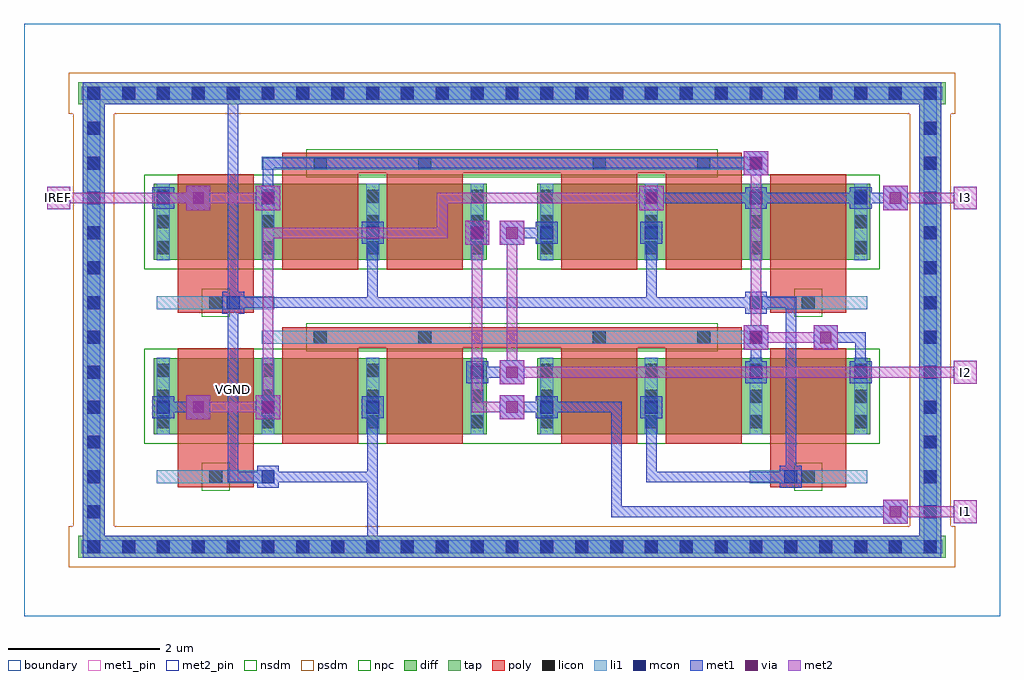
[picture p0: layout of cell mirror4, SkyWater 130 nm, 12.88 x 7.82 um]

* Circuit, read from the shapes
.subckt mirror4 I1 I2 I3 IREF VGND
XM1 I3 VGND I3 VGND sky130_fd_pr__nfet_01v8 w=1 l=1 m=2
XM2 IREF VGND IREF VGND sky130_fd_pr__nfet_01v8 w=1 l=1 m=2
XM3 VGND IREF I3 VGND sky130_fd_pr__nfet_01v8 w=1 l=1 m=2
XM4 VGND IREF IREF VGND sky130_fd_pr__nfet_01v8 w=1 l=1 m=2
XM5 I2 IREF VGND VGND sky130_fd_pr__nfet_01v8 w=1 l=1 m=2
XM6 I1 IREF VGND VGND sky130_fd_pr__nfet_01v8 w=1 l=1 m=2
.ends

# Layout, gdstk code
import gdstk
lib = gdstk.Library(unit=1e-6, precision=1e-09)
def R(c, l, rs):  # rectangles x0, y0, x1, y1
    for r in rs: c.add(gdstk.rectangle(r[:2], r[2:], *l))
def A(c, l, x, y, w, h, nx, ny, dx, dy):  # array of equal rectangles
    R(c, l, [(x+i*dx, y+j*dy, x+i*dx+w, y+j*dy+h) for i in range(nx) for j in range(ny)])
diff = (65, 20)
tap = (65, 44)
poly = (66, 20)
licon = (66, 44)
li1 = (67, 20)
mcon = (67, 44)
met1_pin = (68, 16)
met1 = (68, 20)
via = (68, 44)
met2_pin = (69, 16)
met2 = (69, 20)
nsdm = (93, 44)
psdm = (94, 20)
npc = (95, 20)
boundary = (235, 4)

mirror4 = lib.new_cell('mirror4')
R(mirror4, diff, [(1.715,2.405,6.105,3.405), (6.775,2.405,11.165,3.405), (1.715,4.705,6.105,5.705), (6.775,4.705,11.165,5.705)])
R(mirror4, tap, [(0.715,0.775,12.165,1.065), (0.775,0.775,1.065,7.045), (11.815,0.775,12.105,7.045), (0.715,6.755,12.165,7.045)])
R(mirror4, poly, [(2.03,1.705,3.03,1.975), (9.85,1.705,10.85,1.975), (2.03,1.84,3.03,3.535), (9.85,1.84,10.85,3.535), (3.41,2.275,4.41,3.68), (4.79,2.275,5.79,3.68), (7.09,2.275,8.09,3.68), (8.47,2.275,9.47,3.68), (3.41,3.545,9.47,3.815), (2.03,4.005,3.03,4.275), (9.85,4.005,10.85,4.275), (2.03,4.14,3.03,5.835), (9.85,4.14,10.85,5.835), (3.41,4.575,4.41,5.98), (4.79,4.575,5.79,5.98), (7.09,4.575,8.09,5.98), (8.47,4.575,9.47,5.98), (3.41,5.845,9.47,6.115)])
A(mirror4, licon, 0.835, 0.835, 0.17, 0.17, 25, 2, 0.46, 5.98)
A(mirror4, licon, 0.835, 1.295, 0.17, 0.17, 1, 12, 0, 0.46)
A(mirror4, licon, 11.875, 1.295, 0.17, 0.17, 1, 12, 0, 0.46)
A(mirror4, licon, 1.755, 2.48, 0.17, 0.17, 4, 3, 1.38, 0.34)
A(mirror4, licon, 6.815, 2.48, 0.17, 0.17, 4, 3, 1.38, 0.34)
A(mirror4, licon, 1.755, 4.78, 0.17, 0.17, 4, 3, 1.38, 0.34)
A(mirror4, licon, 6.815, 4.78, 0.17, 0.17, 4, 3, 1.38, 0.34)
R(mirror4, licon, [(2.445,1.755,2.615,1.925), (10.265,1.755,10.435,1.925), (3.825,3.595,3.995,3.765), (5.205,3.595,5.375,3.765), (7.505,3.595,7.675,3.765), (8.885,3.595,9.055,3.765), (2.445,4.055,2.615,4.225), (10.265,4.055,10.435,4.225), (3.825,5.895,3.995,6.065), (5.205,5.895,5.375,6.065), (7.505,5.895,7.675,6.065), (8.885,5.895,9.055,6.065)])
A(mirror4, li1, 1.755, 2.4, 0.17, 1.01, 4, 2, 1.38, 2.3)
A(mirror4, li1, 6.815, 2.4, 0.17, 1.01, 4, 2, 1.38, 2.3)
R(mirror4, li1, [(0.755,0.835,12.125,1.005), (0.835,0.835,1.005,6.985), (11.875,0.835,12.045,6.985), (1.755,1.755,3.305,1.925), (9.575,1.755,11.125,1.925), (3.135,3.595,9.745,3.765), (1.755,4.055,3.305,4.225), (9.575,4.055,11.125,4.225), (3.135,5.895,9.745,6.065), (0.755,6.815,12.125,6.985)])
A(mirror4, mcon, 0.835, 0.835, 0.17, 0.17, 25, 2, 0.46, 5.98)
A(mirror4, mcon, 0.835, 1.295, 0.17, 0.17, 1, 12, 0, 0.46)
A(mirror4, mcon, 11.875, 1.295, 0.17, 0.17, 1, 12, 0, 0.46)
A(mirror4, mcon, 1.755, 2.675, 0.17, 0.17, 3, 1, 1.38, 0)
A(mirror4, mcon, 9.575, 3.135, 0.17, 0.17, 1, 3, 0, 0.46)
R(mirror4, mcon, [(3.135,1.755,3.305,1.925), (10.035,1.755,10.205,1.925), (6.815,2.675,6.985,2.845), (8.195,2.675,8.365,2.845), (5.895,3.135,6.065,3.305), (10.955,3.135,11.125,3.305), (2.675,4.055,2.845,4.225), (4.515,4.975,4.685,5.145), (5.895,4.975,6.065,5.145), (6.815,4.975,6.985,5.145), (8.195,4.975,8.365,5.145), (1.755,5.435,1.925,5.605), (3.135,5.435,3.305,5.605), (9.575,5.435,9.745,5.605), (10.955,5.435,11.125,5.605), (9.575,5.895,9.745,6.065)])
R(mirror4, met1_pin, [(2.69,1.77,2.83,4.21)])
A(mirror4, met1, 1.695, 2.615, 0.29, 0.29, 3, 1, 1.38, 0)
A(mirror4, met1, 9.515, 3.075, 0.29, 0.29, 1, 3, 0, 0.46)
R(mirror4, met1, [(0.775,0.775,12.105,1.065), (0.775,0.775,1.065,7.045), (11.815,0.775,12.105,7.045), (4.53,0.85,4.67,0.99), (4.53,0.85,4.67,2.83), (11.34,1.22,11.66,1.54), (7.75,1.31,7.89,2.83), (7.75,1.31,11.57,1.45), (3.075,1.695,3.365,1.985), (9.975,1.695,10.265,1.985), (2.69,1.77,3.29,1.91), (2.69,1.77,2.83,4.21), (3.15,1.77,4.67,1.91), (8.21,1.77,10.19,1.91), (8.21,1.77,8.35,2.83), (10.05,1.77,10.19,4.21), (2.14,2.6,2.46,2.92), (3.06,2.6,3.38,2.92), (6.28,2.6,6.6,2.92), (6.755,2.615,7.045,2.905), (8.135,2.615,8.425,2.905), (1.77,2.69,2.37,2.83), (6.37,2.69,6.97,2.83), (6.83,2.69,7.89,2.83), (6.28,3.06,6.6,3.38), (5.835,3.075,6.125,3.365), (10.895,3.075,11.185,3.365), (5.91,3.15,6.51,3.29), (9.59,3.15,9.73,3.75), (10.97,3.15,11.11,3.75), (9.5,3.52,9.82,3.84), (10.42,3.52,10.74,3.84), (10.51,3.61,11.11,3.75), (2.615,3.995,2.905,4.285), (2.69,4.07,4.67,4.21), (2.69,4.07,2.83,6.97), (4.53,4.07,8.35,4.21), (4.53,4.07,4.67,5.13), (8.21,4.07,9.73,4.21), (8.21,4.07,8.35,5.13), (9.59,4.07,10.19,4.21), (5.82,4.9,6.14,5.22), (6.28,4.9,6.6,5.22), (4.455,4.915,4.745,5.205), (5.835,4.915,6.125,5.205), (6.755,4.915,7.045,5.205), (8.135,4.915,8.425,5.205), (6.37,4.99,6.97,5.13), (2.14,5.36,2.46,5.68), (3.06,5.36,3.38,5.68), (8.12,5.36,8.44,5.68), (11.34,5.36,11.66,5.68), (1.695,5.375,1.985,5.665), (3.075,5.375,3.365,5.665), (9.515,5.375,9.805,5.665), (10.895,5.375,11.185,5.665), (1.77,5.45,2.37,5.59), (3.15,5.45,3.29,6.05), (8.21,5.45,9.73,5.59), (9.59,5.45,11.11,5.59), (10.97,5.45,11.57,5.59), (9.5,5.82,9.82,6.14), (9.515,5.835,9.805,6.125), (3.15,5.91,9.73,6.05), (0.775,6.755,12.105,7.045), (2.69,6.83,2.83,6.97)])
R(mirror4, via, [(11.425,1.305,11.575,1.455), (2.225,2.685,2.375,2.835), (3.145,2.685,3.295,2.835), (6.365,2.685,6.515,2.835), (6.365,3.145,6.515,3.295), (9.585,3.605,9.735,3.755), (10.505,3.605,10.655,3.755), (5.905,4.985,6.055,5.135), (6.365,4.985,6.515,5.135), (2.225,5.445,2.375,5.595), (3.145,5.445,3.295,5.595), (8.205,5.445,8.355,5.595), (11.425,5.445,11.575,5.595), (9.585,5.905,9.735,6.055)])
R(mirror4, met2_pin, [(12.27,1.23,12.57,1.53), (12.27,3.07,12.57,3.37), (0.31,5.37,0.61,5.67), (12.27,5.37,12.57,5.67)])
R(mirror4, met2, [(11.34,1.22,11.66,1.54), (12.27,1.23,12.57,1.53), (11.43,1.31,12.49,1.45), (12.35,1.31,12.49,1.45), (2.14,2.6,2.46,2.92), (3.06,2.6,3.38,2.92), (6.28,2.6,6.6,2.92), (2.23,2.69,3.29,2.83), (3.15,2.69,3.29,5.13), (5.91,2.69,6.51,2.83), (5.91,2.69,6.05,5.13), (6.28,3.06,6.6,3.38), (12.27,3.07,12.57,3.37), (6.37,3.15,6.51,5.13), (6.37,3.15,12.49,3.29), (12.35,3.15,12.49,3.29), (9.5,3.52,9.82,3.84), (10.42,3.52,10.74,3.84), (9.59,3.61,9.73,6.05), (9.59,3.61,10.65,3.75), (5.82,4.9,6.14,5.22), (6.28,4.9,6.6,5.22), (3.15,4.99,5.59,5.13), (5.45,4.99,5.59,5.59), (2.14,5.36,2.46,5.68), (3.06,5.36,3.38,5.68), (8.12,5.36,8.44,5.68), (11.34,5.36,11.66,5.68), (0.31,5.37,0.61,5.67), (12.27,5.37,12.57,5.67), (0.39,5.45,0.53,5.59), (0.39,5.45,2.37,5.59), (2.23,5.45,3.29,5.59), (5.45,5.45,8.35,5.59), (11.43,5.45,12.49,5.59), (12.35,5.45,12.49,5.59), (9.5,5.82,9.82,6.14)])
R(mirror4, nsdm, [(1.59,2.28,11.29,3.53), (1.59,4.58,11.29,5.83)])
R(mirror4, psdm, [(0.59,0.65,12.29,1.19), (0.65,1.19,1.19,6.63), (11.69,1.19,12.23,6.63), (0.59,6.63,12.29,7.17)])
R(mirror4, npc, [(2.345,1.655,2.715,2.025), (10.165,1.655,10.535,2.025), (3.725,3.495,9.155,3.865), (2.345,3.955,2.715,4.325), (10.165,3.955,10.535,4.325), (3.725,5.795,9.155,6.165)])
R(mirror4, boundary, [(0,0,12.88,7.82)])
mirror4.add(gdstk.Label('VGND', (2.76,2.99), layer=68, texttype=5))
mirror4.add(gdstk.Label('IREF', (0.46,5.52), layer=69, texttype=5))
mirror4.add(gdstk.Label('I1', (12.42,1.38), layer=69, texttype=5))
mirror4.add(gdstk.Label('I2', (12.42,3.22), layer=69, texttype=5))
mirror4.add(gdstk.Label('I3', (12.42,5.52), layer=69, texttype=5))
mirror4.add(gdstk.Label('VGND', (2.76,2.99), layer=68, texttype=16))
mirror4.add(gdstk.Label('IREF', (0.46,5.52), layer=69, texttype=16))
mirror4.add(gdstk.Label('I1', (12.42,1.38), layer=69, texttype=16))
mirror4.add(gdstk.Label('I2', (12.42,3.22), layer=69, texttype=16))
mirror4.add(gdstk.Label('I3', (12.42,5.52), layer=69, texttype=16))

lib.write_gds('mirror4.gds')
